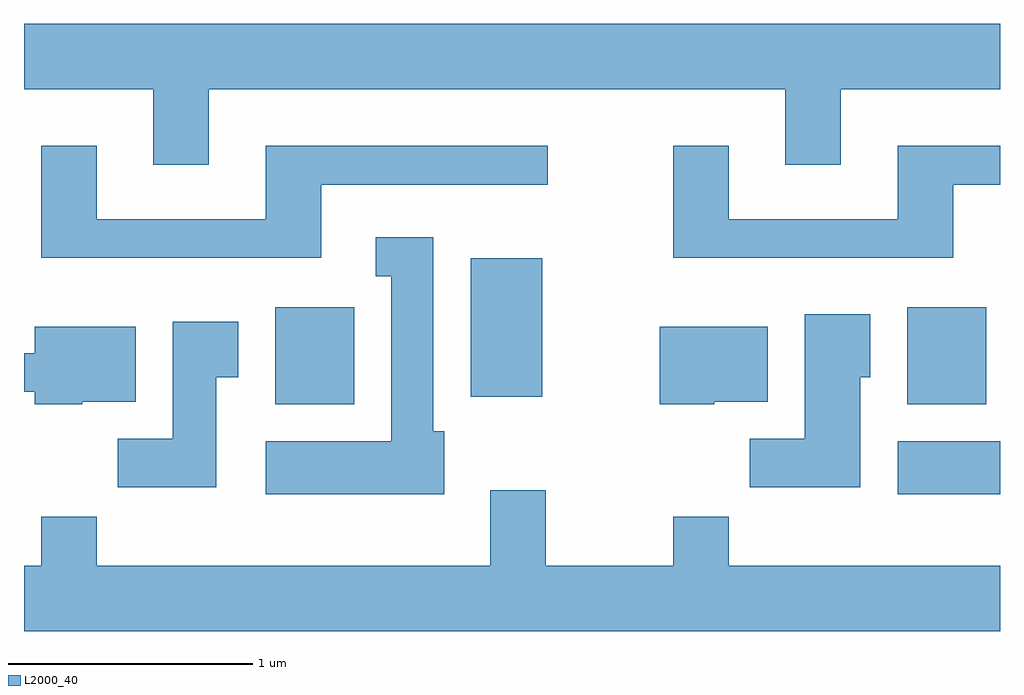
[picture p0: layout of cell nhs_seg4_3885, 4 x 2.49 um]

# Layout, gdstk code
import gdstk
lib = gdstk.Library(unit=1e-6, precision=1e-09)
def R(c, l, rs):  # rectangles x0, y0, x1, y1
    for r in rs: c.add(gdstk.rectangle(r[:2], r[2:], *l))
def P(c, l, *ps):  # polygons
    for p in ps: c.add(gdstk.Polygon(p, *l))
L2000_40 = (2000, 40)

nhs_seg4_3885 = lib.new_cell('nhs_seg4_3885')
R(nhs_seg4_3885, L2000_40, [(303.191,1273.096,303.611,1273.314), (300.641,1273.466,300.964,1273.864), (303.231,1273.466,303.554,1273.864), (301.441,1273.496,301.734,1274.064)])
P(nhs_seg4_3885, L2000_40, [(300.369,1274.756),(302.731,1274.756),(302.731,1274.446),(302.959,1274.446),(302.959,1274.756),(303.611,1274.756),(303.611,1275.024),(299.611,1275.024),(299.611,1274.756),(300.141,1274.756),(300.141,1274.446),(300.369,1274.446)],
  [(303.419,1274.366),(303.611,1274.366),(303.611,1274.524),(303.191,1274.524),(303.191,1274.224),(302.499,1274.224),(302.499,1274.524),(302.271,1274.524),(302.271,1274.066),(303.419,1274.066)],
  [(300.829,1274.366),(301.758,1274.366),(301.758,1274.524),(300.601,1274.524),(300.601,1274.224),(299.909,1274.224),(299.909,1274.524),(299.681,1274.524),(299.681,1274.066),(300.829,1274.066)],
  [(301.334,1273.354),(301.289,1273.354),(301.289,1274.149),(301.053,1274.149),(301.053,1273.991),(301.116,1273.991),(301.116,1273.314),(300.601,1273.314),(300.601,1273.096),(301.334,1273.096)],
  [(303.039,1273.576),(303.079,1273.576),(303.079,1273.834),(302.811,1273.834),(302.811,1273.324),(302.586,1273.324),(302.586,1273.126),(303.039,1273.126)],
  [(300.399,1273.576),(300.489,1273.576),(300.489,1273.804),(300.221,1273.804),(300.221,1273.324),(299.996,1273.324),(299.996,1273.126),(300.399,1273.126)],
  [(299.85,1273.476),(300.069,1273.476),(300.069,1273.784),(299.656,1273.784),(299.656,1273.674),(299.611,1273.674),(299.611,1273.516),(299.656,1273.516),(299.656,1273.466),(299.85,1273.466)],
  [(302.44,1273.476),(302.659,1273.476),(302.659,1273.784),(302.216,1273.784),(302.216,1273.466),(302.44,1273.466)],
  [(303.611,1272.804),(302.499,1272.804),(302.499,1273.004),(302.271,1273.004),(302.271,1272.804),(301.749,1272.804),(301.749,1273.114),(301.521,1273.114),(301.521,1272.804),(299.909,1272.804),(299.909,1273.004),(299.681,1273.004),(299.681,1272.804),(299.611,1272.804),(299.611,1272.536),(303.611,1272.536)])

lib.write_gds('nhs_seg4_3885.gds')
